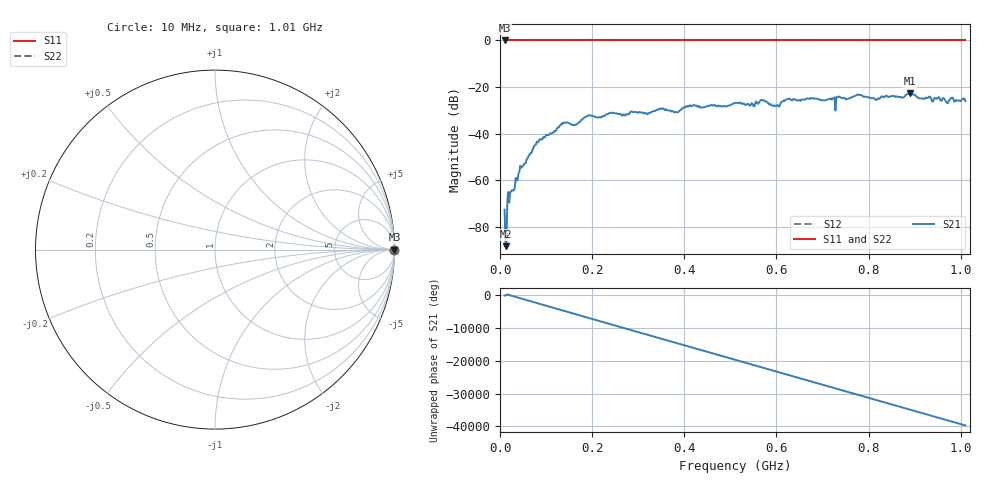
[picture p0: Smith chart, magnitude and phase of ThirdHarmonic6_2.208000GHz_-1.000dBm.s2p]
! 8/17/2025 2:18:44 AM
! C:\ANRITSUVNA\TEMP\TEMP.S2P
! CHANNEL.1
! TR.MEASUREMENT
! RAW.DATA
! RF.CORRECTION.OFF
! AVERAGING.OFF
! IF.BANDWIDTH: 5KHZ
! SWEEPTYPE:  FREQ.SWEEP(Linear)
! Reference Plane Port Info
! PORT:  PORT1  PORT2
! DISTANCE:  0  m  0  m
! TIME:  0  s  0  s
! PHASE.OFFSET:  0  deg.  0  deg.
! LOSS:  0  dB  0  dB
! REF.LOSS:  0  dB  0  dB
! REF.FREQ:  0  Hz  0  Hz
! Power Info
! POWER:  -20  dBm  -20  dBm
! EFF.POWER:  -20  dBm  -20  dBm
! SOURCE.ATTEN:  0  dB  0  dB
! TEST.ATTEN:  0  dB  0  dB
# GHZ S RI R 50.0
! FREQ.GHZ  S11RE  S11IM  S21RE  S21IM  S12RE  S12IM  S22RE  S22IM
!; PortSelection: Port_12
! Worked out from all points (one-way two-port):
!   501 points, 10 MHz to 1.01 GHz, reference 50 ohm
!   highest |S21| = -22.68 dB at 890 MHz (marker M1); lowest = -88.3 dB at 12 MHz (marker M2)
!   lowest |S11| = 0.0 dB at 10 MHz (marker M3)
!   |S11| at or under -10 dB: nowhere
!   |S22| runs from 0.0 to 0.0 dB; largest |S21 - S12| = 1.1
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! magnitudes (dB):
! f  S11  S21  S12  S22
! 10 MHz  0.0  -72.7  0.0  0.0
! 12 MHz  0.0  -88.3  0.0  0.0
! 16 MHz  0.0  -68.7  0.0  0.0
! 20 MHz  0.0  -69.6  0.0  0.0
! 44 MHz  0.0  -53.8  0.0  0.0
! 78 MHz  0.0  -44.7  0.0  0.0
! 136 MHz  0.0  -35.9  0.0  0.0
! 162 MHz  0.0  -36.1  0.0  0.0
! 178 MHz  0.0  -34.0  0.0  0.0
! 344 MHz  0.0  -29.6  0.0  0.0
! 382 MHz  0.0  -30.7  0.0  0.0
! 416 MHz  0.0  -28.2  0.0  0.0
! 510 MHz  0.0  -26.9  0.0  0.0
! 548 MHz  0.0  -27.2  0.0  0.0
! 570 MHz  0.0  -25.7  0.0  0.0
! 602 MHz  0.0  -27.7  0.0  0.0
! 624 MHz  0.0  -25.2  0.0  0.0
! 678 MHz  0.0  -24.8  0.0  0.0
! 844 MHz  0.0  -24.2  0.0  0.0
! 890 MHz  0.0  -22.7  0.0  0.0
! 970 MHz  0.0  -26.8  0.0  0.0
! 1.01 GHz  0.0  -26.0  0.0  0.0
